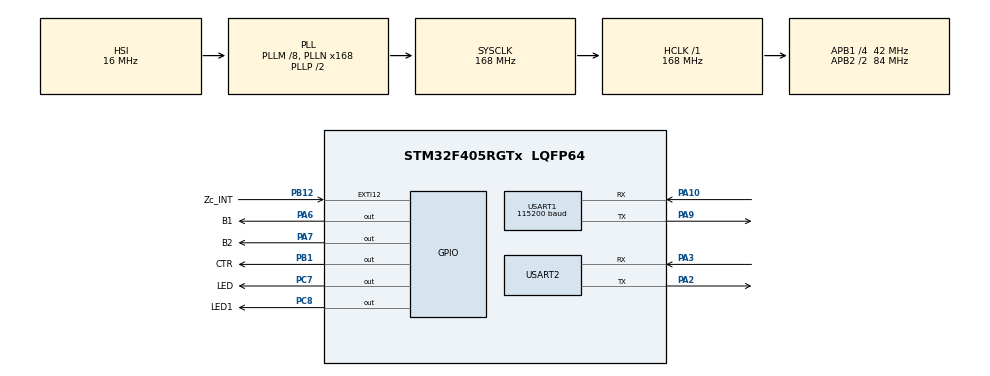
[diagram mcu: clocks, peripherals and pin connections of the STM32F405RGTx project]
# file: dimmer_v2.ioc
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Dma.Request0=USART2_RX
Dma.Request1=USART2_TX
Dma.Request2=USART1_RX
Dma.Request3=USART1_TX
Dma.USART1_RX.2.Direction=DMA_PERIPH_TO_MEMORY
Dma.USART1_RX.2.FIFOMode=DMA_FIFOMODE_DISABLE
Dma.USART1_RX.2.Instance=DMA2_Stream2
Dma.USART1_RX.2.MemDataAlignment=DMA_MDATAALIGN_BYTE
Dma.USART1_RX.2.MemInc=DMA_MINC_ENABLE
Dma.USART1_RX.2.Mode=DMA_NORMAL
Dma.USART1_RX.2.PeriphDataAlignment=DMA_PDATAALIGN_BYTE
Dma.USART1_RX.2.PeriphInc=DMA_PINC_DISABLE
Dma.USART1_RX.2.Priority=DMA_PRIORITY_LOW
Dma.USART1_TX.3.Direction=DMA_MEMORY_TO_PERIPH
Dma.USART1_TX.3.FIFOMode=DMA_FIFOMODE_DISABLE
Dma.USART1_TX.3.Instance=DMA2_Stream7
Dma.USART1_TX.3.MemDataAlignment=DMA_MDATAALIGN_BYTE
Dma.USART1_TX.3.MemInc=DMA_MINC_ENABLE
Dma.USART1_TX.3.Mode=DMA_NORMAL
Dma.USART1_TX.3.PeriphDataAlignment=DMA_PDATAALIGN_BYTE
Dma.USART1_TX.3.PeriphInc=DMA_PINC_DISABLE
Dma.USART1_TX.3.Priority=DMA_PRIORITY_LOW
Dma.USART2_RX.0.Direction=DMA_PERIPH_TO_MEMORY
Dma.USART2_RX.0.FIFOMode=DMA_FIFOMODE_DISABLE
Dma.USART2_RX.0.Instance=DMA1_Stream5
Dma.USART2_RX.0.MemDataAlignment=DMA_MDATAALIGN_BYTE
Dma.USART2_RX.0.MemInc=DMA_MINC_ENABLE
Dma.USART2_RX.0.Mode=DMA_CIRCULAR
Dma.USART2_RX.0.PeriphDataAlignment=DMA_PDATAALIGN_BYTE
Dma.USART2_RX.0.PeriphInc=DMA_PINC_DISABLE
Dma.USART2_RX.0.Priority=DMA_PRIORITY_LOW
Dma.USART2_TX.1.Direction=DMA_MEMORY_TO_PERIPH
Dma.USART2_TX.1.FIFOMode=DMA_FIFOMODE_DISABLE
Dma.USART2_TX.1.Instance=DMA1_Stream6
Dma.USART2_TX.1.MemDataAlignment=DMA_MDATAALIGN_BYTE
Dma.USART2_TX.1.MemInc=DMA_MINC_ENABLE
Dma.USART2_TX.1.Mode=DMA_NORMAL
Dma.USART2_TX.1.PeriphDataAlignment=DMA_PDATAALIGN_BYTE
Dma.USART2_TX.1.PeriphInc=DMA_PINC_DISABLE
Dma.USART2_TX.1.Priority=DMA_PRIORITY_LOW
FREERTOS.BinarySemaphores01=eepromSem,Dynamic,NULL
FREERTOS.Mutexes01=ID,Dynamic,NULL
FREERTOS.Queues01=rxDataUART2,16,uint16_t,0,Dynamic,NULL,NULL
FREERTOS.Tasks01=MainTask,0,512,mainTask,Default,NULL,Dynamic,NULL,NULL;SettingsTask,0,1024,settingsTask,Default,NULL,Dynamic,NULL,NULL
FREERTOS.configTOTAL_HEAP_SIZE=24576
FREERTOS.configUSE_NEWLIB_REENTRANT=1
Mcu.Family=STM32F4
Mcu.Name=STM32F405RGTx
Mcu.Package=LQFP64
NVIC.DMA1_Stream5_IRQn=true\:5\:0\:false\:false\:true\:true\:false\:true\:true
NVIC.DMA1_Stream6_IRQn=true\:5\:0\:false\:false\:true\:true\:false\:true\:true
NVIC.DMA2_Stream2_IRQn=true\:5\:0\:false\:false\:true\:true\:false\:true\:true
NVIC.DMA2_Stream7_IRQn=true\:5\:0\:false\:false\:true\:true\:false\:true\:true
NVIC.EXTI15_10_IRQn=true\:5\:0\:false\:false\:true\:true\:true\:true\:true
NVIC.PriorityGroup=NVIC_PRIORITYGROUP_4
NVIC.TIM8_BRK_TIM12_IRQn=true\:15\:0\:false\:false\:true\:false\:false\:true\:true
NVIC.TIM8_TRG_COM_TIM14_IRQn=true\:5\:0\:false\:false\:true\:true\:true\:true\:true
NVIC.TimeBase=TIM8_BRK_TIM12_IRQn
NVIC.TimeBaseIP=TIM12
NVIC.USART2_IRQn=true\:5\:0\:false\:false\:true\:true\:true\:true\:true
PA10.GPIO_PuPd=GPIO_PULLUP
PA10.Mode=Asynchronous
PA10.Signal=USART1_RX
PA13.Mode=Serial_Wire
PA13.Signal=SYS_JTMS-SWDIO
PA14.Mode=Serial_Wire
PA14.Signal=SYS_JTCK-SWCLK
PA2.Mode=Asynchronous
PA2.Signal=USART2_TX
PA3.GPIO_PuPd=GPIO_PULLUP
PA3.Mode=Asynchronous
PA3.Signal=USART2_RX
PA6.GPIO_Label=B1
PA6.Signal=GPIO_Output
PA7.GPIO_Label=B2
PA7.Signal=GPIO_Output
PA9.Mode=Asynchronous
PA9.Signal=USART1_TX
PB1.GPIO_Label=CTR
PB1.Signal=GPIO_Output
PB12.GPIO_Label=Zc_INT
PB12.Signal=GPXTI12
PC7.GPIO_Label=LED
PC7.Signal=GPIO_Output
PC8.GPIO_Label=LED1
PC8.Signal=GPIO_Output
ProjectManager.HeapSize=0x6000
ProjectManager.StackSize=0x8000
ProjectManager.TargetToolchain=STM32CubeIDE
RCC.48MHZClocksFreq_Value=84000000
RCC.AHBFreq_Value=168000000
RCC.APB1CLKDivider=RCC_HCLK_DIV4
RCC.APB1Freq_Value=42000000
RCC.APB1TimFreq_Value=84000000
RCC.APB2CLKDivider=RCC_HCLK_DIV2
RCC.APB2Freq_Value=84000000
RCC.APB2TimFreq_Value=168000000
RCC.CortexFreq_Value=168000000
RCC.HCLKFreq_Value=168000000
RCC.HSE_VALUE=25000000
RCC.HSI_VALUE=16000000
RCC.LSE_VALUE=32768
RCC.PLLM=8
RCC.PLLN=168
RCC.SYSCLKFreq_VALUE=168000000
RCC.SYSCLKSource=RCC_SYSCLKSOURCE_PLLCLK
RCC.VCOOutputFreq_Value=336000000
TIM13.Prescaler=168-1
TIM14.Prescaler=168-1
USART1.BaudRate=115200
USART1.VirtualMode=VM_ASYNC
USART2.VirtualMode=VM_ASYNC
VP_FREERTOS_VS_CMSIS_V1.Mode=CMSIS_V1
VP_SYS_VS_tim12.Mode=TIM12
VP_TIM13_VS_ClockSourceINT.Mode=Enable_Timer
VP_TIM14_VS_ClockSourceINT.Mode=Enable_Timer
board=custom

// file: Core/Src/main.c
/* USER CODE BEGIN Header */
/**
 ******************************************************************************
 * @file           : main.c
 * @brief          : Main program body
 ******************************************************************************
 * @attention
 *
 * Copyright (c) 2024 STMicroelectronics.
 * All rights reserved.
 *
 * This software is licensed under terms that can be found in the LICENSE file
 * in the root directory of this software component.
 * If no LICENSE file comes with this software, it is provided AS-IS.
 *
 ******************************************************************************
 */
/* USER CODE END Header */
#include "main.h"
#include "cmsis_os.h"
#include "dma.h"
#include "tim.h"
#include "usart.h"
#include "gpio.h"

/* USER CODE BEGIN Includes */
#include <stdarg.h>
#include <stdio.h>
#include "eeprom.h"
/* USER CODE END Includes */

/* USER CODE BEGIN PV */
//float setTEMP = SETTEMP;
//float stepTemp = 3.0;
//float maxTemp = MAXTEMP;
trmo_settings termo_set;
uint16_t VirtAddVarTab[NB_OF_VAR];
uint16_t VarDataTab[NB_OF_VAR];

uint16_t VarDataTabRead[NB_OF_VAR];
uint16_t VarIndex, VarDataTmp = 0;
/* USER CODE END PV */

void SystemClock_Config(void);
void MX_FREERTOS_Init(void);

int main(void)
{

  /* MCU Configuration--------------------------------------------------------*/

  /* Reset of all peripherals, Initializes the Flash interface and the Systick. */
  HAL_Init();

  /* Configure the system clock */
  SystemClock_Config();

  /* Initialize all configured peripherals */
  MX_GPIO_Init();
  MX_DMA_Init();
  MX_TIM13_Init();
  MX_TIM14_Init();
  MX_USART1_UART_Init();
  MX_USART2_UART_Init();
  /* USER CODE BEGIN 2 */
	STM_LOG("start dimmer");

	/* Unlock the Flash Program Erase controller */
	HAL_FLASH_Unlock();
	/* EEPROM Init */
	STM_LOG("eeprom init start");
	if (EE_Init() != EE_OK) {
		STM_LOG("eeprom init fault");
	} else {
		// Fill EEPROM variables addresses
		for (VarIndex = 1; VarIndex <= NB_OF_VAR; VarIndex++) {
			VirtAddVarTab[VarIndex - 1] = VarIndex;
		}

		HAL_StatusTypeDef ret;
		ret = eeprom_read(&termo_set);
		if (ret != HAL_OK) {
			STM_LOG("var  not foud in eeprom. wtite default");
			termo_set.setTEMP = SETTEMP;
			termo_set.maxTemp = MAXTEMP;
			termo_set.stepTemp = STEPTEMP;

			ret = eeprom_write(termo_set);
			if (ret != HAL_OK) {
				eeprom_read(&termo_set);
			}
			termo_set.setTEMP = 0;
			termo_set.maxTemp = 0;
			termo_set.stepTemp = 0;
			eeprom_read(&termo_set);

		}

	}
	HAL_FLASH_Lock();
  /* USER CODE END 2 */

  /* Call init function for freertos objects (in cmsis_os2.c) */
  MX_FREERTOS_Init();

  /* Start scheduler */
  osKernelStart();

  /* We should never get here as control is now taken by the scheduler */

  /* Infinite loop */
	while (1) {

	}
}

void SystemClock_Config(void)
{
  RCC_OscInitTypeDef RCC_OscInitStruct = {0};
  RCC_ClkInitTypeDef RCC_ClkInitStruct = {0};

  /** Configure the main internal regulator output voltage
  */
  __HAL_RCC_PWR_CLK_ENABLE();
  __HAL_PWR_VOLTAGESCALING_CONFIG(PWR_REGULATOR_VOLTAGE_SCALE1);

  /** Initializes the RCC Oscillators according to the specified parameters
  * in the RCC_OscInitTypeDef structure.
  */
  RCC_OscInitStruct.OscillatorType = RCC_OSCILLATORTYPE_HSI;
  RCC_OscInitStruct.HSIState = RCC_HSI_ON;
  RCC_OscInitStruct.HSICalibrationValue = RCC_HSICALIBRATION_DEFAULT;
  RCC_OscInitStruct.PLL.PLLState = RCC_PLL_ON;
  RCC_OscInitStruct.PLL.PLLSource = RCC_PLLSOURCE_HSI;
  RCC_OscInitStruct.PLL.PLLM = 8;
  RCC_OscInitStruct.PLL.PLLN = 168;
  RCC_OscInitStruct.PLL.PLLP = RCC_PLLP_DIV2;
  RCC_OscInitStruct.PLL.PLLQ = 4;
  if (HAL_RCC_OscConfig(&RCC_OscInitStruct) != HAL_OK)
  {
    Error_Handler();
  }

  /** Initializes the CPU, AHB and APB buses clocks
  */
  RCC_ClkInitStruct.ClockType = RCC_CLOCKTYPE_HCLK|RCC_CLOCKTYPE_SYSCLK
                              |RCC_CLOCKTYPE_PCLK1|RCC_CLOCKTYPE_PCLK2;
  RCC_ClkInitStruct.SYSCLKSource = RCC_SYSCLKSOURCE_PLLCLK;
  RCC_ClkInitStruct.AHBCLKDivider = RCC_SYSCLK_DIV1;
  RCC_ClkInitStruct.APB1CLKDivider = RCC_HCLK_DIV4;
  RCC_ClkInitStruct.APB2CLKDivider = RCC_HCLK_DIV2;

  if (HAL_RCC_ClockConfig(&RCC_ClkInitStruct, FLASH_LATENCY_5) != HAL_OK)
  {
    Error_Handler();
  }
}

/* USER CODE BEGIN 4 */
uint8_t log_tx_buffer[LOG_TX_BUF_SIZE + 2];

void STM_LOG(const char *format, ...) {
	while (DBG_PORT.gState != HAL_UART_STATE_READY);

	va_list args;
	int size = 0;

	va_start(args, format);
	//vsprintf((char *)log_tx_buffer, format, args);
	size = vsnprintf((char*) log_tx_buffer, LOG_TX_BUF_SIZE, format, args);
	va_end(args);

	// добавить \r
	log_tx_buffer[size] = '\r';
	log_tx_buffer[size + 1] = 0;

	HAL_UART_Transmit_DMA(&DBG_PORT, log_tx_buffer,
			strlen((const char*) log_tx_buffer));
}

uint16_t eeprom_read(trmo_settings *ts) {
	uint16_t ret;
	/*uint16_t arr[4];

	 for (VarIndex = 0; VarIndex < NB_OF_VAR; VarIndex++)
	 {
	 if((EE_ReadVariable(VirtAddVarTab[VarIndex],  &VarDataTabRead[VarIndex])) != HAL_OK)
	 {
	 Error_Handler();
	 }
	 }

	 *Data = (*(float*) &arr[start_vIndex]);*/

	for (VarIndex = 0; VarIndex < NB_OF_VAR; VarIndex++) {
		ret = EE_ReadVariable(VirtAddVarTab[VarIndex], &VarDataTabRead[VarIndex]);
		if (ret != HAL_OK) {
			STM_LOG("fail write eeprom: vindex %d", VarIndex);
			return ret;
		}
	}

	*ts = (*(trmo_settings*) VarDataTabRead);
	return ret;
}

uint16_t eeprom_write(trmo_settings ts) {
	uint16_t ret;
	/*uint16_t *arr;
	 arr = (uint16_t*)(&inData);

	 for (int VarIndex = start_vIndex; VarIndex < 2; VarIndex++) {
	 ret = EE_ReadVariable(VarIndex, &arr[VarIndex]);
	 if (ret != HAL_OK) {
	 STM_LOG("fail write eeprom: vindex %d", VarIndex);
	 return ret;
	 }
	 }*/
	//uint16_t *arr = (uint16_t*)(&ts);
	//VarDataTabRead = (uint16_t*)(&ts);
	memcpy(VarDataTabRead, (uint16_t*)(&ts), sizeof(ts));

	for (VarIndex = 0; VarIndex < NB_OF_VAR; VarIndex++) {
		ret = EE_WriteVariable(VirtAddVarTab[VarIndex], VarDataTabRead[VarIndex]);
		if (ret != HAL_OK) {
			STM_LOG("fail write eeprom: vindex %d", VarIndex);
			return ret;
		}
	}
	return ret;
}
/* USER CODE END 4 */

void HAL_TIM_PeriodElapsedCallback(TIM_HandleTypeDef *htim)
{
  if (htim->Instance == TIM12) {
    HAL_IncTick();
  }
  /* USER CODE BEGIN Callback 1 */
	if (htim->Instance == htim14.Instance) {
		HAL_TIM_Base_Stop_IT(&htim14);
		HAL_GPIO_WritePin(CTR_GPIO_Port, CTR_Pin, GPIO_PIN_SET);
		HAL_GPIO_WritePin(B1_GPIO_Port, B1_Pin, GPIO_PIN_SET);
		HAL_GPIO_WritePin(LED1_GPIO_Port, LED1_Pin, GPIO_PIN_SET);
	}
  /* USER CODE END Callback 1 */
}

void Error_Handler(void)
{
	__disable_irq();
	while (1) {
	}
}

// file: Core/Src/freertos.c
/* USER CODE BEGIN Header */
/**
 ******************************************************************************
 * File Name          : freertos.c
 * Description        : Code for freertos applications
 ******************************************************************************
 * @attention
 *
 * Copyright (c) 2024 STMicroelectronics.
 * All rights reserved.
 *
 * This software is licensed under terms that can be found in the LICENSE file
 * in the root directory of this software component.
 * If no LICENSE file comes with this software, it is provided AS-IS.
 *
 ******************************************************************************
 */
/* USER CODE END Header */

#include "FreeRTOS.h"
#include "task.h"
#include "main.h"
#include "cmsis_os.h"

/* USER CODE BEGIN Includes */
#include "eeprom.h"
/* USER CODE END Includes */

/* USER CODE BEGIN PTD */
//#define ow_uart huart1
//#define OW_USART USART1

extern TIM_HandleTypeDef htim13;

extern TIM_HandleTypeDef htim14;

extern UART_HandleTypeDef huart1;
extern  DMA_HandleTypeDef hdma_usart1_tx;
extern DMA_HandleTypeDef hdma_usart1_rx;

float Temp[MAXDEVICES_ON_THE_BUS];
float current_temp;
extern trmo_settings termo_set;
/* USER CODE END PTD */

/* USER CODE BEGIN PM */
#define OW_0	0x00
#define OW_1	0xff
#define OW_R_1	0xff
/* USER CODE END PM */

/* USER CODE BEGIN Variables */
uint8_t flag_pulse_Start = 0;

//float Temperature = 0.0;
uint8_t Presence = 0;
uint8_t Temp_byte1, Temp_byte2;
uint8_t one_wire_buff[9] = {0};
uint16_t TEMP;
//extern float setTEMP;
//float stepTemp = 3.0;
//extern float maxTemp;

uint32_t oldTime = 0;
uint32_t time = 0;

uint32_t time_DS18B20 = 0;
uint32_t time_out_DS18B20 = 1;
uint32_t time_DS18B20_Read = 0;
uint8_t event_DS18B20 = 0;

uint32_t time_Dimmer = 0;
//uint32_t time_Dimmer_Pulse = 0;
uint32_t time_out_dimmer = 20; // 20 mS не включается семистор 0 включен постоянно
uint8_t event_dimmer = 0;
uint32_t delay_dimm_us = 11000; // 10000 us = 10 ms

//stm log
uint8_t message_rx[message_RX_LENGTH];
uint8_t UART2_rx[UART2_RX_LENGTH];
uint16_t indx_message_rx = 0;
uint16_t indx_UART2_rx = 0;
uint16_t Size_message = 0;
uint16_t Start_index = 0;

/* USER CODE END Variables */
osThreadId MainTaskHandle;
osThreadId SettingsTaskHandle;
osMessageQId rxDataUART2Handle;
osMutexId IDHandle;
osSemaphoreId eepromSemHandle;

/* USER CODE BEGIN FunctionPrototypes */
void actoin_motor_set(cJSON *obj, uint8_t save);
void actoin_set(cJSON *obj, uint8_t save);
void actoin_resp_all_set(void);
void actoin_resp_status(void);

float map(float x, float in_min, float in_max, float out_min, float out_max)
{
  return (x - in_min) * (out_max - out_min) / (in_max - in_min) + out_min;
}

static uint8_t DS18B20_Init(void);
//static uint8_t DS18B20_ReadBit(void);
static uint8_t DS18B20_ReadByte(void);
static void DS18B20_WriteByte(uint8_t);
void DS18B20_SampleTemp(void);
float DS18B20_ReadTemp(void);
void DS18B20_usart_setup(uint32_t baud);
/* USER CODE END FunctionPrototypes */

void mainTask(void const * argument);
void settingsTask(void const * argument);

void MX_FREERTOS_Init(void); /* (MISRA C 2004 rule 8.1) */

/* GetIdleTaskMemory prototype (linked to static allocation support) */
void vApplicationGetIdleTaskMemory( StaticTask_t **ppxIdleTaskTCBBuffer, StackType_t **ppxIdleTaskStackBuffer, uint32_t *pulIdleTaskStackSize );

/* USER CODE BEGIN GET_IDLE_TASK_MEMORY */
static StaticTask_t xIdleTaskTCBBuffer;
static StackType_t xIdleStack[configMINIMAL_STACK_SIZE];

void vApplicationGetIdleTaskMemory(StaticTask_t **ppxIdleTaskTCBBuffer,
		StackType_t **ppxIdleTaskStackBuffer, uint32_t *pulIdleTaskStackSize) {
	*ppxIdleTaskTCBBuffer = &xIdleTaskTCBBuffer;
	*ppxIdleTaskStackBuffer = &xIdleStack[0];
	*pulIdleTaskStackSize = configMINIMAL_STACK_SIZE;
	/* place for user code */
}
/* USER CODE END GET_IDLE_TASK_MEMORY */

void MX_FREERTOS_Init(void) {
  /* Create the mutex(es) */
  /* definition and creation of ID */
  osMutexDef(ID);
  IDHandle = osMutexCreate(osMutex(ID));

  /* Create the semaphores(s) */
  /* definition and creation of eepromSem */
  osSemaphoreDef(eepromSem);
  eepromSemHandle = osSemaphoreCreate(osSemaphore(eepromSem), 1);

  /* Create the queue(s) */
  /* definition and creation of rxDataUART2 */
  osMessageQDef(rxDataUART2, 16, uint16_t);
  rxDataUART2Handle = osMessageCreate(osMessageQ(rxDataUART2), NULL);

  /* Create the thread(s) */
  /* definition and creation of MainTask */
  osThreadDef(MainTask, mainTask, osPriorityNormal, 0, 512);
  MainTaskHandle = osThreadCreate(osThread(MainTask), NULL);

  /* definition and creation of SettingsTask */
  osThreadDef(SettingsTask, settingsTask, osPriorityNormal, 0, 1024);
  SettingsTaskHandle = osThreadCreate(osThread(SettingsTask), NULL);

}

void mainTask(void const * argument)
{
  /* USER CODE BEGIN mainTask */

	oldTime = HAL_GetTick();
	HAL_GPIO_WritePin(CTR_GPIO_Port, CTR_Pin, GPIO_PIN_RESET);
	HAL_TIM_Base_Start(&htim13);

	//get_ROMid();
	/* Infinite loop */
	for (;;) {
		// чтение температуры по таймауту
		HAL_GPIO_WritePin(LED_GPIO_Port, LED_Pin, GPIO_PIN_SET);
		//get_Temperature();
		  DS18B20_SampleTemp();               // Convert (Sample) Temperature Now
		  osDelay(800);
		  Temp[0] = DS18B20_ReadTemp();  // Read The Conversion Result Temperature Value
		  current_temp = Temp[0];
		if (Temp[0] < termo_set.setTEMP) {
			//Temperature = 0;
			delay_dimm_us = 11000;
		} else if (Temp[0] > termo_set.maxTemp) {
			Temp[0] = termo_set.maxTemp;
			delay_dimm_us = 1;
		} else {
			// управление симистором
			delay_dimm_us = (uint32_t) map(Temp[0], termo_set.setTEMP, termo_set.maxTemp, FAN_START, 1);
		}
		HAL_GPIO_WritePin(LED_GPIO_Port, LED_Pin, GPIO_PIN_RESET);
		osDelay(300);

	}
  /* USER CODE END mainTask */
}

void settingsTask(void const * argument)
{
  /* USER CODE BEGIN settingsTask */
	//HAL_UART_Receive_DMA(&huart2, UART2_rx, UART2_RX_LENGTH);
	HAL_UARTEx_ReceiveToIdle_DMA(&huart2, UART2_rx, UART2_RX_LENGTH);
	__HAL_DMA_DISABLE_IT(&hdma_usart2_rx, DMA_IT_HT);
	//__HAL_DMA_DISABLE_IT(&hdma_usart2_rx, DMA_IT_TC);
	/* Infinite loop */
	for (;;) {
		// ожидать собщение
		osMessageGet(rxDataUART2Handle, osWaitForever);
		//uint32_t message_len = strlen((char*) message_rx);
		//HAL_UART_Transmit(&huart2, message_rx, message_len, HAL_MAX_DELAY);

		// парсим  json
		cJSON *json = cJSON_Parse((char*) message_rx);
		if (json != NULL) {

			cJSON *id = cJSON_GetObjectItemCaseSensitive(json, "id");
			//cJSON *name_device = cJSON_GetObjectItemCaseSensitive(json, "name_device");
			cJSON *type_data = cJSON_GetObjectItemCaseSensitive(json, "type_data");
			cJSON *save_settings = cJSON_GetObjectItemCaseSensitive(json, "save_settings");
			cJSON *obj = cJSON_GetObjectItemCaseSensitive(json, "obj");

			if (cJSON_IsNumber(id) && cJSON_GetNumberValue(id) == ID_CTRL) {
				uint8_t save_set = 0;
				if (cJSON_IsTrue(save_settings)) {
					save_set = 1;
				} else {
					save_set = 0;
				}

				if (cJSON_IsNumber(type_data)) {
					switch (type_data->valueint) {
					case 1: // ip settings
						actoin_set(obj, save_set);
						break;
					case 2: // motor settings
						actoin_motor_set(obj, save_set);
						break;
					case 3:
						actoin_resp_all_set();
						break;
					case 4:
						actoin_resp_status();
						break;
					default:
						STM_LOG("data type not registered");
						break;
					}
				}
			} else {
				STM_LOG("id not valid");
			}

			cJSON_Delete(json);
		} else {
			STM_LOG("Invalid JSON");
		}

		osDelay(1);
	}
  /* USER CODE END settingsTask */
}

/* USER CODE BEGIN Application */
void HAL_GPIO_EXTI_Callback(uint16_t GPIO_Pin) {
	if (GPIO_Pin == Zc_INT_Pin) {
		HAL_GPIO_TogglePin(B2_GPIO_Port, B2_Pin);
		HAL_TIM_Base_Stop_IT(&htim14);
		__HAL_TIM_SET_AUTORELOAD(&htim14, delay_dimm_us); // таймар на открытие симистора
		__HAL_TIM_SET_COUNTER(&htim14, 0);
		HAL_GPIO_WritePin(CTR_GPIO_Port, CTR_Pin, GPIO_PIN_RESET);
		HAL_GPIO_WritePin(B1_GPIO_Port, B1_Pin, GPIO_PIN_RESET);
		HAL_GPIO_WritePin(LED1_GPIO_Port, LED1_Pin, GPIO_PIN_RESET);
		flag_pulse_Start = 0;
		HAL_TIM_Base_Start_IT(&htim14); // запуск таймара на открытие симистора
	} else {
		__NOP();
	}
}

void actoin_motor_set(cJSON *obj, uint8_t save) {

}

void actoin_set(cJSON *obj, uint8_t save) {

	cJSON *j_SET_TEMP = cJSON_GetObjectItemCaseSensitive(obj, "set_temp");
	cJSON *j_MAX_TEMP = cJSON_GetObjectItemCaseSensitive(obj, "max_temp");
	cJSON *j_STEP_TEMP = cJSON_GetObjectItemCaseSensitive(obj, "step_temp");

	if((j_SET_TEMP != NULL) && cJSON_IsNumber(j_SET_TEMP))
	{
		termo_set.setTEMP = (float)cJSON_GetNumberValue(j_SET_TEMP);
	}
	if((j_MAX_TEMP != NULL) && cJSON_IsNumber(j_MAX_TEMP))
	{
		termo_set.maxTemp = (float)cJSON_GetNumberValue(j_MAX_TEMP);
	}
	if((j_STEP_TEMP != NULL) && cJSON_IsNumber(j_STEP_TEMP))
	{
		termo_set.stepTemp = (float)cJSON_GetNumberValue(j_STEP_TEMP);
	}

	HAL_StatusTypeDef ret;
	HAL_FLASH_Unlock();
	ret = eeprom_write(termo_set);
	if (ret != HAL_OK) {
		STM_LOG("Fail write settings");
	}
	HAL_FLASH_Lock();
}

void actoin_resp_all_set() {

}

void actoin_resp_status() {
	//STM_LOG("actoin_resp_status()");
	cJSON *j_all_settings_obj = cJSON_CreateObject();
	cJSON *j_to_host = cJSON_CreateObject();

	cJSON_AddNumberToObject(j_to_host, "id", ID_CTRL);
	cJSON_AddStringToObject(j_to_host, "name_device", NAME);
	cJSON_AddNumberToObject(j_to_host, "type_data", 4);

	cJSON_AddNumberToObject(j_all_settings_obj, "set_temp", (double)termo_set.setTEMP);
	cJSON_AddNumberToObject(j_all_settings_obj, "max_temp", (double)termo_set.maxTemp);
	cJSON_AddNumberToObject(j_all_settings_obj, "step_temp", (double)termo_set.stepTemp);
	//cJSON_AddNumberToObject(j_all_settings_obj, "current", (double)(current_temp));

	cJSON_AddItemToObject(j_to_host, "obj", j_all_settings_obj);

	char *str_to_host = cJSON_Print(j_to_host);
	//string out = str_to_host;
	//out += '\r';

	//HAL_UART_Transmit(&huart2, (uint8_t*)out.c_str(), out.size(), HAL_MAX_DELAY);
	STM_LOG("%s", str_to_host);

	cJSON_free(str_to_host);
	cJSON_Delete(j_to_host);
}

/******************************************************************************************************
 Handlers
 ******************************************************************************************************/
void HAL_UARTEx_RxEventCallback(UART_HandleTypeDef *huart, uint16_t Size) {
	if (huart->Instance == USART2) {

		while ( __HAL_UART_GET_FLAG(huart, UART_FLAG_TC) != SET) {
		};

		uint16_t Size_Data = Size - Start_index;

		HAL_UART_RxEventTypeTypeDef rxEventType;
		rxEventType = HAL_UARTEx_GetRxEventType(huart);
		switch (rxEventType) {
		case HAL_UART_RXEVENT_IDLE:
			//STM_LOG( "IDLE. Size:%d sd:%d sti:%d", Size, Size_Data, Start_index);
			// копировать с индекса сообщения
			memcpy(&message_rx[indx_message_rx], &UART2_rx[Start_index],
					Size_Data);

			//|| (message_rx[indx_message_rx + Size_Data - 1] == '\n')
			if ((message_rx[indx_message_rx + Size_Data - 1] == '\r')
					|| (message_rx[indx_message_rx + Size_Data - 1] == 0)) {
				message_rx[indx_message_rx + Size_Data] = 0;
				// выдать сигнал
				osMessagePut(rxDataUART2Handle, (uint32_t) indx_message_rx, 0);
				Size_message = 0;
				// обнулить индекс сообщения
				indx_message_rx = 0;
			} else {
				indx_message_rx += Size_Data;
			}

			Start_index = Size;

			//STM_LOG( "\n" );
			break;

		case HAL_UART_RXEVENT_HT:
			//STM_LOG( "HT Size:%d sd:%d sti:%d", Size, Size_Data, Start_index);
			break;

		case HAL_UART_RXEVENT_TC:
			//STM_LOG( "TC Size:%d sd:%d sti:%d", Size, Size_Data, Start_index);
			// скопировать в начало буфера
			memcpy(&message_rx[indx_message_rx], &UART2_rx[Start_index],
					Size_Data);
			// сохронить индекс сообщения
			indx_message_rx += Size_Data;
			Start_index = 0;
			break;

		default:
			STM_LOG("???");
			break;
		}

		HAL_UARTEx_ReceiveToIdle_DMA(huart, UART2_rx, UART2_RX_LENGTH);
		__HAL_DMA_DISABLE_IT(&hdma_usart2_rx, DMA_IT_HT);
		//usart_rx_check(Size);
	}

}

//-----------------------------------------------------------------------------
// обратное преобразование - из того, что получено через USART опять собирается байт
// ow_bits - ссылка на буфер, размером не менее 8 байт
//-----------------------------------------------------------------------------
uint8_t OW_toByte(uint8_t *ow_bits) {
	uint8_t ow_byte, i;
	ow_byte = 0;
	for (i = 0; i < 8; i++) {
		ow_byte = ow_byte >> 1;
		if (*ow_bits == OW_R_1) {
			ow_byte |= 0x80;
		}
		ow_bits++;
	}

	return ow_byte;
}

static uint8_t DS18B20_Init(void)
{
	uint8_t ResetByte = 0xF0, PresenceByte;
	//LL_USART_SetBaudRate(huart1.Instance, HAL_RCC_GetPCLK2Freq(), 9600);
	DS18B20_usart_setup(9600);
	// Send reset pulse (0xF0)
	HAL_UART_Transmit(&huart1, &ResetByte, 1, 1);
	// Wait for the presence pulse
	HAL_UART_Receive(&huart1, &PresenceByte, 1, 1);
	//LL_USART_SetBaudRate(huart1.Instance, HAL_RCC_GetPCLK2Freq(), 115200);
	DS18B20_usart_setup(115200);
	// Check presence pulse
	if (PresenceByte != ResetByte){
		return 1; // Presence pulse detected
	}
	else{
		return 0; // No presence pulse detected
	}
}
/*
static uint8_t DS18B20_ReadBit(void)
{
    uint8_t ReadBitCMD = 0xFF;
    uint8_t RxBit;

    // Send Read Bit CMD
    HAL_UART_Transmit(&huart1, &ReadBitCMD, 1, 1);
    // Receive The Bit
    //HAL_UART_Receive(&huart1, &RxBit, 1, 1);
    RxBit = (uint8_t)(huart1.Instance->DR & (uint8_t)0x00FF);

    return (RxBit & 0x01);
}*/

static uint8_t DS18B20_ReadByte(void)
{
	// Буфер для приема/передачи по 1-wire
	uint8_t TxBuffer[8];
	uint8_t RxBuffer[8];
    for (int i=0; i<8; i++)
    {
		TxBuffer[i] = 0xFF;
    }

	uint8_t RxByte = 0;
	/*
	for (uint8_t i = 0; i < 8; i++)
	{
		RxByte >>= 1;
		if (DS18B20_ReadBit())
		{
			RxByte |= 0x80;
		}
	}*/

    HAL_UART_Receive_DMA(&huart1, RxBuffer, 8);
    HAL_UART_Transmit(&huart1, TxBuffer, 8, 10);

	while (HAL_DMA_STATE_READY != HAL_DMA_GetState(&hdma_usart1_rx)) {
		osDelay(1);
	}

	//HAL_UART_DMAStop(&huart1);

	RxByte = OW_toByte(RxBuffer);

	return RxByte;
}

static void DS18B20_WriteByte(uint8_t data)
{
	uint8_t TxBuffer[8];
	uint8_t RxBuffer[8];
    for (int i=0; i<8; i++)
    {
	  if ((data & (1<<i)) != 0){
		  TxBuffer[i] = 0xFF;
	  }
	  else{
		  TxBuffer[i] = 0;
	  }
    }
    //HAL_UART_Transmit(&huart1, TxBuffer, 8, 10);

    HAL_UART_Receive_DMA(&huart1, RxBuffer, 8);
    HAL_UART_Transmit(&huart1, TxBuffer, 8, 10);
	while (HAL_DMA_STATE_READY != HAL_DMA_GetState(&hdma_usart1_rx)) {
		osDelay(1);
	}

	//HAL_UART_DMAStop(&huart1);
}

void DS18B20_SampleTemp(void)
{
	DS18B20_Init();
	DS18B20_WriteByte(0xCC);  // Skip ROM   (ROM-CMD)
	DS18B20_WriteByte(0x44);  // Convert T  (F-CMD)
}

float DS18B20_ReadTemp(void)
{
	uint8_t Temp_LSB, Temp_MSB;
	uint16_t Temp;
	float Temperature;

	DS18B20_Init();
	DS18B20_WriteByte(0xCC);  // Skip ROM         (ROM-CMD)
	DS18B20_WriteByte(0xBE);  // Read Scratchpad  (F-CMD)
	Temp_LSB = DS18B20_ReadByte();
	Temp_MSB = DS18B20_ReadByte();
	Temp = ((Temp_MSB<<8))|Temp_LSB;
	Temperature = (float)Temp/16.0;

	return Temperature;
}

void DS18B20_usart_setup(uint32_t baud) {

	huart1.Instance = USART1;
	huart1.Init.BaudRate = baud;
	huart1.Init.WordLength = UART_WORDLENGTH_8B;
	huart1.Init.StopBits = UART_STOPBITS_1;
	huart1.Init.Parity = UART_PARITY_NONE;
	huart1.Init.Mode = UART_MODE_TX_RX;
	huart1.Init.HwFlowCtl = UART_HWCONTROL_NONE;
	huart1.Init.OverSampling = UART_OVERSAMPLING_16;

	HAL_UART_Abort_IT(&huart1);
	HAL_UART_DeInit(&huart1);
	if (HAL_UART_Init(&huart1) != HAL_OK) //HAL_UART_Init
	{
		//	    Error_Handler();
		__asm__("NOP");
	}

	__HAL_UART_ENABLE_IT(&huart1, UART_IT_RXNE);
}
/* USER CODE END Application */
